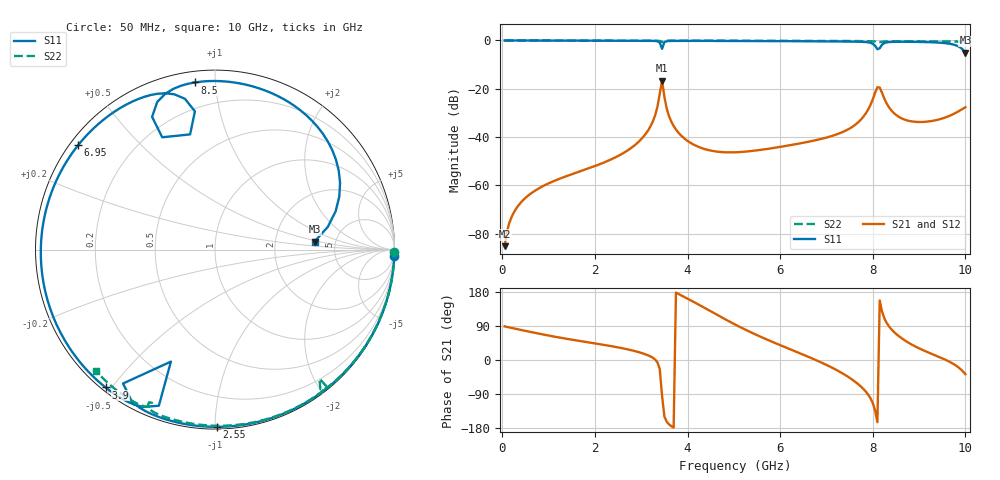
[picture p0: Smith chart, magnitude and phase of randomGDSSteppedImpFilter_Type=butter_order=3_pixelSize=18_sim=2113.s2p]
! freq	dB(S11)	phase(S11)	dB(S12)	phase(S12)
!  dB(S21)	phase(S21)	dB(S22)	phase(S22)
!S-par simulation data
#  GHz  S  DB  R 50
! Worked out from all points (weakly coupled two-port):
!   200 points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, 50 MHz to 10 GHz, reference 50 ohm
!   highest |S21| = -16.65 dB at 3.45 GHz (marker M1); lowest = -85.1 dB at 50 MHz (marker M2)
!   lowest |S11| = -5.1 dB at 10 GHz (marker M3), VSWR 3.51, Z = 172 + j22.5 ohm
!   |S11| at or under -10 dB: nowhere
!   |S22| runs from -0.7 to 0.0 dB; largest |S21 - S12| = 0
!   S11 on the Smith chart (normalised r, x): 50 MHz: 1, -61; 2.55 GHz: 0.01, -1.01; 3.9 GHz: 0.01, -0.48; 6.95 GHz: 0.02, +0.34; 8.5 GHz: 0.06, +0.89; 10 GHz: 3.45, +0.45
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0.05  -0.00 -1.9  -85.12 88.7  -85.12 88.7  -0.00 -0.8
0.55  -0.02 -20.4  -64.32 75.5  -64.32 75.5  -0.01 -8.5
1.75  -0.08 -62.9  -53.69 48.6  -53.69 48.6  -0.03 -26.9
2.55  -0.11 -89.5  -47.30 32.1  -47.30 32.1  -0.05 -38.8
3.15  -0.15 -109.3  -37.19 12.2  -37.19 12.2  -0.07 -47.8
3.4  -0.87 -124.5  -21.96 -23.9  -21.96 -23.9  -0.24 -52.9
3.45  -3.47 -111.5  -16.65 -94.8  -16.65 -94.8  -0.68 -51.0
3.5  -0.68 -109.8  -23.33 -148.8  -23.33 -148.8  -0.20 -50.8
3.6  -0.23 -117.5  -31.30 -169.8  -31.30 -169.8  -0.09 -53.2
3.9  -0.17 -128.4  -40.02 168.2  -40.02 168.2  -0.08 -57.9
5.05  -0.22 -161.8  -46.25 92.2  -46.25 92.2  -0.11 -73.8
6.7  -0.34 150.4  -41.56 3.6  -41.56 3.6  -0.18 -95.2
6.95  -0.36 142.7  -40.43 -10.1  -40.43 -10.1  -0.20 -98.3
7.7  -0.52 117.0  -33.58 -65.4  -33.58 -65.4  -0.25 -107.8
7.95  -0.97 104.7  -26.67 -100.8  -26.67 -100.8  -0.31 -111.5
8.1  -3.65 102.2  -19.37 -164.1  -19.37 -164.1  -0.66 -113.4
8.2  -1.74 115.4  -21.68 128.0  -21.68 128.0  -0.55 -112.2
8.35  -0.67 104.5  -27.65 88.7  -27.65 88.7  -0.37 -114.3
8.5  -0.55 96.8  -30.78 69.3  -30.78 69.3  -0.35 -116.3
9.4  -0.87 55.9  -32.83 9.6  -32.83 9.6  -0.41 -127.3
9.8  -2.05 28.1  -29.87 -15.0  -29.87 -15.0  -0.45 -132.1
10  -5.09 4.6  -27.65 -37.6  -27.65 -37.6  -0.47 -134.4
